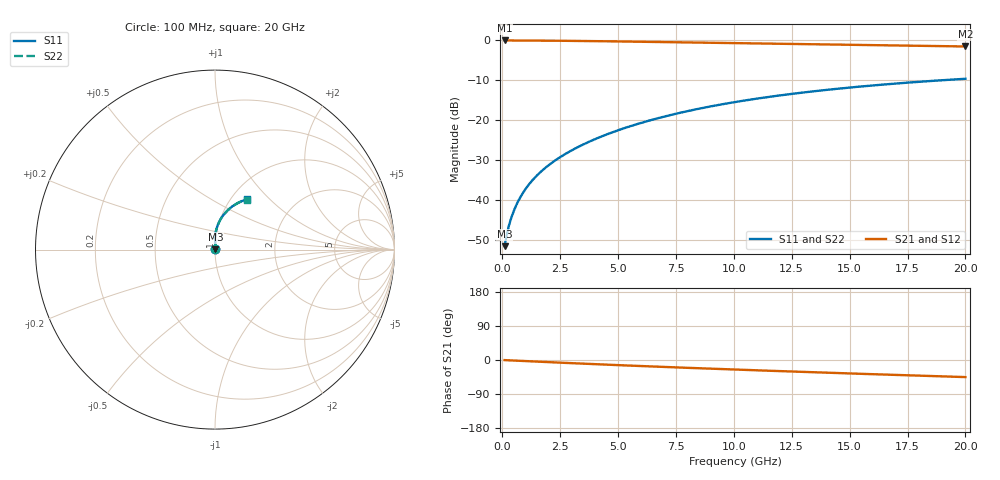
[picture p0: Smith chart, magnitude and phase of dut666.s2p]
! Touchstone file exported from HFSS 2024.1.0
!  File:  C:/UserFiles/LocalFiles/RDL_TSV_Batchsim/temp_RDL_top_666_1779781946.aedt
!  Generated:  03:54:22 PM May 26, 2026
!  Design:  RDL_top
!  Project:  temp_RDL_top_666_1779781946
!  Setup:  Setup1
!  Solution:  Sweep
! Variables:
!  dtsv = 10.80580581um
!  hbump = 3um
!  htsv = 94.8um
!  ldown = 100um
!  lrdl = 675.41um
!  p = 40
!  p1 = 53.31um
!  rhole = 1um
!  t = 450um
!  tdown = 3.915915916um
!  trdl = 4.57um
!  wdown = 15.38538539um
!  wrdl = 27.84um
# GHz S MA R 50.000000
! Terminal data exported
! Port[1] = Box2_T1
! Port[2] = Box2_T2
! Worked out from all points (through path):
!   200 points, 100 MHz to 20 GHz, reference 50 ohm
!   highest |S21| = -0.02 dB at 100 MHz (marker M1); lowest = -1.5 dB at 20 GHz (marker M2)
!   group delay of S21, straight-line fit = 6.17 ps
!   lowest |S11| = -51.6 dB at 100 MHz (marker M3), VSWR 1.01, Z = 50.2 + j0.158 ohm
!   |S11| at or under -10 dB: start of sweep to 18.97 GHz
!   |S22| runs from -51.6 to -9.6 dB; largest |S21 - S12| = 9.4e-15
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0.1  0.002628 36.7  0.9979 -0.3  0.9979 -0.3  0.002628 36.7
! Gamma 0 0 0 0
! Port Impedance 50 0 50 0
0.2  0.003754 52.5  0.9976 -0.6  0.9976 -0.6  0.003755 52.5
0.3  0.00492 60.7  0.9974 -0.9  0.9974 -0.9  0.004921 60.7
0.4  0.006102 66.1  0.9973 -1.2  0.9973 -1.2  0.006102 66.1
0.5  0.007308 70.0  0.9971 -1.4  0.9971 -1.4  0.007308 70.0
0.6  0.008538 73.0  0.9969 -1.7  0.9969 -1.7  0.008539 72.9
0.8  0.01106 77.1  0.9965 -2.3  0.9965 -2.3  0.01106 77.1
1.1  0.01495 81.0  0.9957 -3.1  0.9957 -3.1  0.01495 81.0
1.3  0.01761 82.7  0.995 -3.7  0.995 -3.7  0.0176 82.7
1.6  0.02166 84.6  0.9939 -4.5  0.9939 -4.5  0.02166 84.5
2.1  0.02863 86.6  0.9915 -5.9  0.9915 -5.9  0.02862 86.6
2.7  0.03734 88.1  0.988 -7.6  0.988 -7.6  0.03733 88.0
3.5  0.04961 89.0  0.9825 -9.7  0.9825 -9.7  0.0496 89.0
4.2  0.06096 89.2  0.977 -11.5  0.977 -11.5  0.06093 89.2
5  0.07458 88.9  0.9702 -13.5  0.9702 -13.5  0.07454 88.9
6.8  0.1072 86.7  0.9539 -17.9  0.9539 -17.9  0.1071 86.6
8.4  0.1373 83.7  0.9391 -21.6  0.9391 -21.6  0.1372 83.6
10.1  0.1694 79.9  0.9235 -25.3  0.9235 -25.3  0.1693 79.9
11.7  0.199 76.2  0.9092 -28.7  0.9092 -28.7  0.1988 76.2
13.4  0.2292 72.3  0.8942 -32.2  0.8942 -32.2  0.2289 72.2
16.7  0.2831 64.8  0.866 -38.8  0.866 -38.8  0.2828 64.7
20  0.3301 57.8  0.8389 -45.1  0.8389 -45.1  0.3297 57.7
